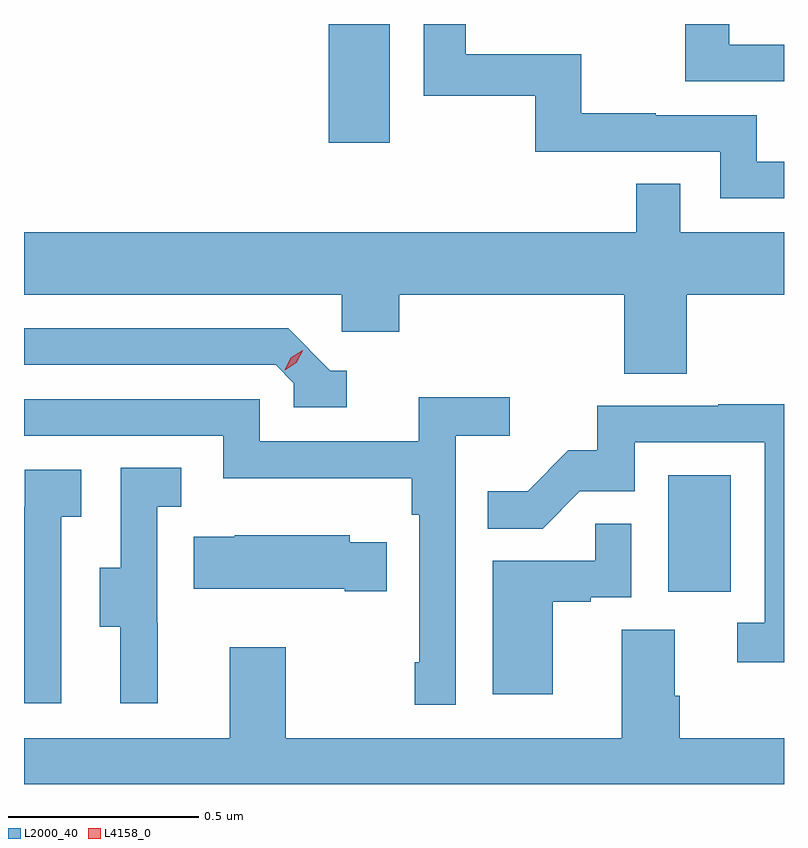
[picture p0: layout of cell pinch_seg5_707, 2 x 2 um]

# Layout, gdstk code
import gdstk
lib = gdstk.Library(unit=1e-6, precision=1e-09)
def R(c, l, rs):  # rectangles x0, y0, x1, y1
    for r in rs: c.add(gdstk.rectangle(r[:2], r[2:], *l))
def P(c, l, *ps):  # polygons
    for p in ps: c.add(gdstk.Polygon(p, *l))
L2000_40 = (2000, 40)
L4158_0 = (4158, 0)

pinch_seg5_707 = lib.new_cell('pinch_seg5_707')
R(pinch_seg5_707, L2000_40, [(1118.852,849.318,1119.016,849.625), (1117.958,850.5,1118.119,850.812)])
P(pinch_seg5_707, L2000_40, [(1119.156,850.449),(1119.084,850.449),(1119.084,850.572),(1118.819,850.572),(1118.819,850.577),(1118.623,850.577),(1118.623,850.732),(1118.318,850.732),(1118.318,850.812),(1118.208,850.812),(1118.208,850.623),(1118.502,850.623),(1118.502,850.476),(1118.988,850.476),(1118.988,850.353),(1119.156,850.353)],
  [(1119.156,850.758),(1119.012,850.758),(1119.012,850.812),(1118.896,850.812),(1118.896,850.662),(1119.156,850.662)],
  [(1118.883,850.391),(1118.767,850.391),(1118.767,850.264),(1117.156,850.264),(1117.156,850.1),(1117.992,850.1),(1117.992,850.002),(1118.144,850.002),(1118.144,850.1),(1118.735,850.1),(1118.735,849.892),(1118.9,849.892),(1118.9,850.1),(1119.156,850.1),(1119.156,850.264),(1118.883,850.264)],
  [(1118.005,849.9),(1117.962,849.9),(1117.851,850.011),(1117.156,850.011),(1117.156,849.915),(1117.818,849.915),(1117.866,849.867),(1117.866,849.804),(1118.005,849.804)],
  [(1118.292,849.728),(1118.434,849.728),(1118.434,849.83),(1118.195,849.83),(1118.195,849.714),(1117.776,849.714),(1117.776,849.825),(1117.156,849.825),(1117.156,849.729),(1117.68,849.729),(1117.68,849.617),(1118.176,849.617),(1118.176,849.521),(1118.196,849.521),(1118.196,849.133),(1118.184,849.133),(1118.184,849.021),(1118.292,849.021)],
  [(1119.156,849.812),(1118.983,849.812),(1118.983,849.807),(1118.665,849.807),(1118.665,849.69),(1118.588,849.69),(1118.481,849.583),(1118.377,849.583),(1118.377,849.484),(1118.521,849.484),(1118.619,849.582),(1118.763,849.582),(1118.763,849.711),(1119.105,849.711),(1119.105,849.237),(1119.033,849.237),(1119.033,849.132),(1119.156,849.132)],
  [(1117.508,849.237),(1117.506,849.237),(1117.506,849.541),(1117.57,849.541),(1117.57,849.644),(1117.41,849.644),(1117.41,849.381),(1117.355,849.381),(1117.355,849.226),(1117.409,849.226),(1117.409,849.024),(1117.508,849.024)],
  [(1117.254,849.515),(1117.306,849.515),(1117.306,849.639),(1117.158,849.639),(1117.158,849.541),(1117.156,849.541),(1117.156,849.024),(1117.254,849.024)],
  [(1118.548,849.291),(1118.648,849.291),(1118.648,849.303),(1118.754,849.303),(1118.754,849.497),(1118.659,849.497),(1118.659,849.399),(1118.39,849.399),(1118.39,849.048),(1118.548,849.048)],
  [(1118.111,849.448),(1118.013,849.448),(1118.013,849.466),(1117.711,849.466),(1117.711,849.463),(1117.603,849.463),(1117.603,849.326),(1118,849.326),(1118,849.319),(1118.111,849.319)],
  [(1119.156,848.932),(1118.882,848.932),(1118.882,849.044),(1118.869,849.044),(1118.869,849.218),(1118.729,849.218),(1118.729,848.932),(1117.845,848.932),(1117.845,849.172),(1117.697,849.172),(1117.697,848.932),(1117.156,848.932),(1117.156,848.812),(1119.156,848.812)])
P(pinch_seg5_707, L4158_0, [(1117.842,849.901),(1117.842,849.901),(1117.858,849.934),(1117.889,849.953),(1117.89,849.953),(1117.89,849.952),(1117.873,849.92),(1117.842,849.901)])

lib.write_gds('pinch_seg5_707.gds')
